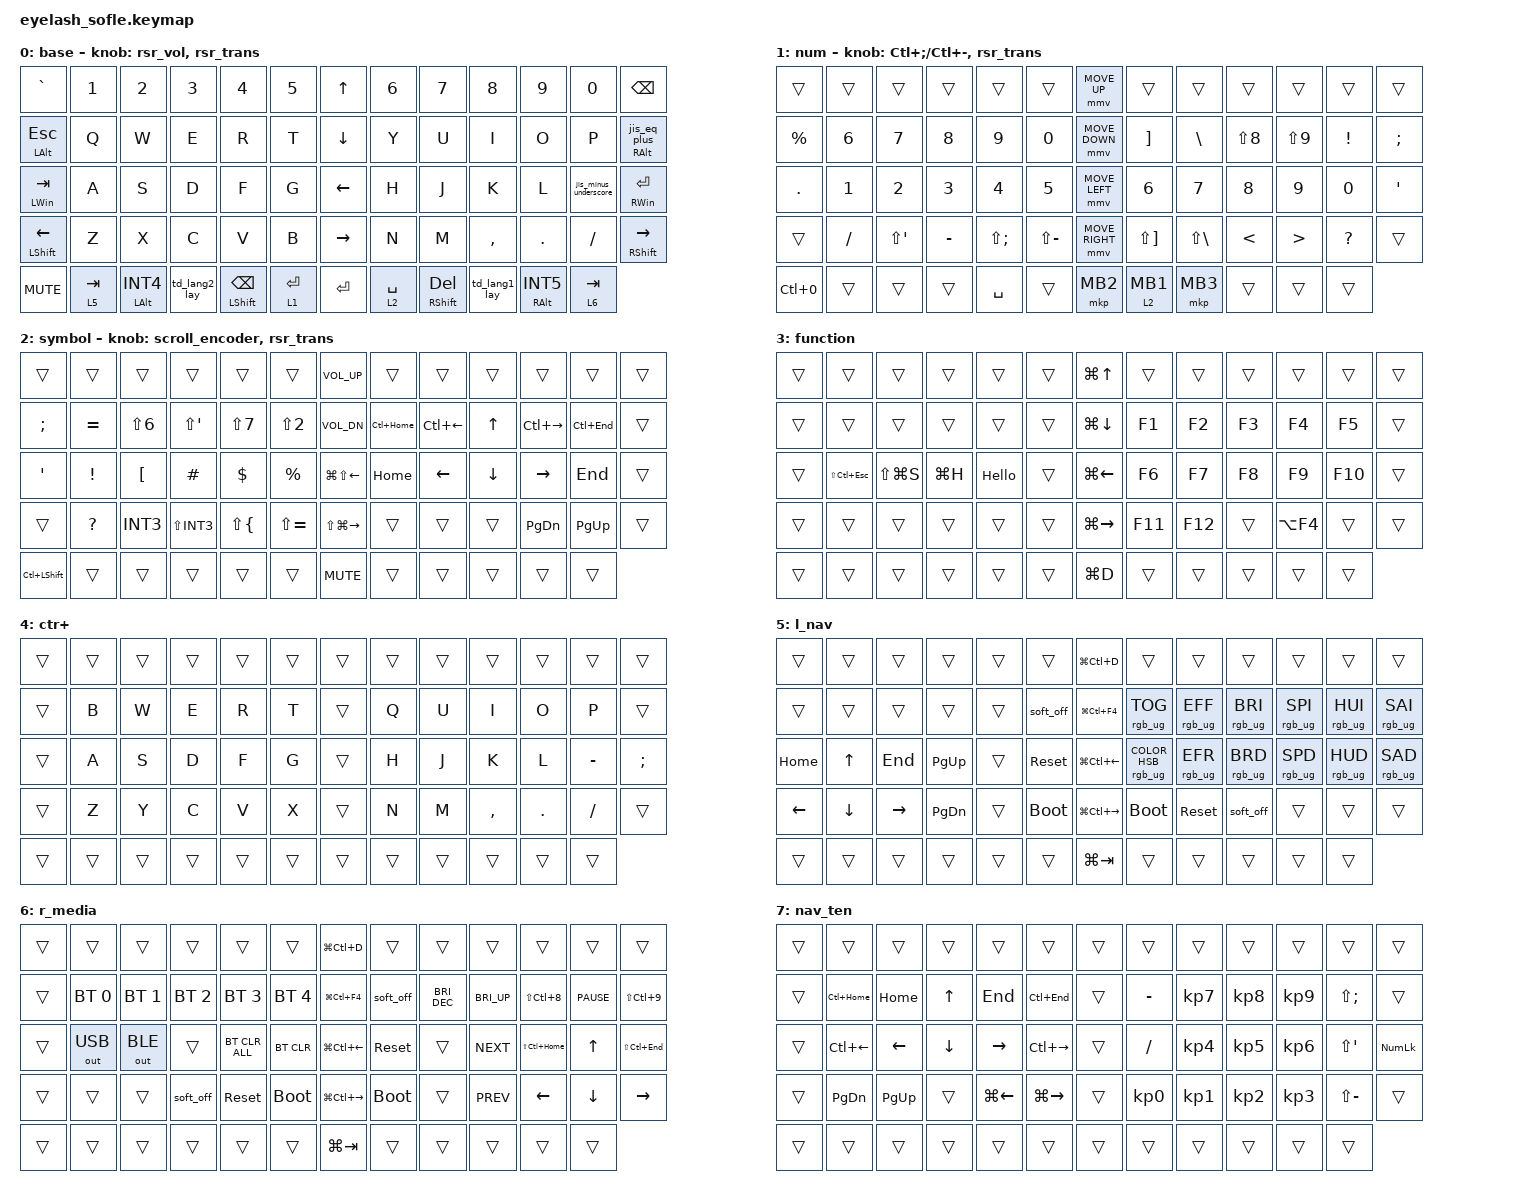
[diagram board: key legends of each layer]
#define ZMK_POINTING_DEFAULT_MOVE_VAL 1200  // 600
#define ZMK_POINTING_DEFAULT_SCRL_VAL 25   // 10

#include <input/processors.dtsi>
#include <zephyr/dt-bindings/input/input-event-codes.h>
#include <behaviors/runtime-sensor-rotate.dtsi>
#include <behaviors.dtsi>
#include <dt-bindings/zmk/bt.h>
#include <dt-bindings/zmk/keys.h>
#include <dt-bindings/zmk/outputs.h>
#include <dt-bindings/zmk/pointing.h>
#include <dt-bindings/zmk/rgb.h>

&mmv_input_listener { input-processors = <&zip_xy_scaler 2 1>; };

&msc_input_listener { input-processors = <&zip_scroll_scaler 2 1>; };

&msc {
    acceleration-exponent = <1>;      // 0
    time-to-max-speed-ms = <100>;       // 300
    delay-ms = <0>;                   // 0
};

&mmv {
    time-to-max-speed-ms = <500>;
    acceleration-exponent = <1>;
    trigger-period-ms = <16>;
};

&soft_off { hold-time-ms = <2000>; };

&lt {
    quick-tap-ms = <170>;
    flavor = "hold-preferred";
    tapping-term-ms = <180>;
};

&mt {
    quick-tap-ms = <170>;
    flavor = "hold-preferred";
    tapping-term-ms = <180>;
};

/ {
    scroll_encoder: scroll_encoder {
        compatible = "zmk,behavior-sensor-rotate";
        #sensor-binding-cells = <0>;
        bindings = <&msc SCRL_DOWN>, <&msc SCRL_UP>;

        tap-ms = <100>;
    };

    behaviors {
        rsr_vol: rsr_vol {
            compatible = "zmk,behavior-runtime-sensor-rotate";
            #sensor-binding-cells = <0>;
            tap-ms = <5>;
            cw-binding = <&kp C_VOL_UP>;
            ccw-binding = <&kp C_VOL_DN>;
        };

        rsr_trans: rsr_trans {
            compatible = "zmk,behavior-runtime-sensor-rotate";
            #sensor-binding-cells = <0>;
            tap-ms = <0>;
        };

        mkp_lay: mkp_lay {
            compatible = "zmk,behavior-hold-tap";
            label = "MKP_LAY";
            bindings = <&mo>, <&mkp>;

            #binding-cells = <2>;
            tapping-term-ms = <180>;
            quick-tap-ms = <170>;
        };

        jis_eq_plus: jis_eq_plus {
            compatible = "zmk,behavior-mod-morph";
            label = "JIS_EQ_PLUS";
            bindings = <&kp LS(MINUS)>, <&kp LS(SEMI)>;

            #binding-cells = <0>;
            mods = <(MOD_LSFT|MOD_RSFT)>;
        };

        jis_eq_plus_hold: jis_eq_plus_hold {
            compatible = "zmk,behavior-hold-tap";
            label = "JIS_EQ_PLUS_HOLD";
            bindings = <&kp>, <&jis_eq_plus>;

            #binding-cells = <2>;
            tapping-term-ms = <180>;
            quick-tap-ms = <170>;
        };

        jis_minus_underscore: jis_minus_underscore {
            compatible = "zmk,behavior-mod-morph";
            label = "JIS_MINUS_UNDERSCORE";
            bindings = <&kp MINUS>, <&kp LS(INT1)>;

            #binding-cells = <0>;
            mods = <(MOD_LSFT|MOD_RSFT)>;
        };

        jis_semi_colon_hold: jis_semi_colon_hold {
            compatible = "zmk,behavior-hold-tap";
            label = "JIS_SEMI_COLON_HOLD";
            bindings = <&kp>, <&jis_semi_colon>;

            #binding-cells = <2>;
            tapping-term-ms = <180>;
            quick-tap-ms = <170>;
        };

        jis_semi_colon: jis_semi_colon {
            compatible = "zmk,behavior-mod-morph";
            label = "JIS_SEMI_COLON";
            bindings = <&kp SEMI>, <&kp APOS>;

            #binding-cells = <0>;
            mods = <(MOD_LSFT|MOD_RSFT)>;
        };

        tap_ctr_lay: tap_ctr_lay {
            compatible = "zmk,behavior-hold-tap";
            label = "TAP_CTR_LAY";
            bindings = <&ctr_lay>, <&kp>;

            #binding-cells = <2>;
            tapping-term-ms = <200>;
        };

        td_lang2_lay: td_lang2_lay {
            compatible = "zmk,behavior-tap-dance";
            label = "TD_LANG2_LAY";
            #binding-cells = <0>;
            bindings = <&tap_ctr_lay 0 LANG2>, <&mo 7>;

            tapping-term-ms = <220>;
        };

        kp_ctr: kp_ctr {
            compatible = "zmk,behavior-hold-tap";
            label = "KP_CTR";
            bindings = <&ctr_lay>, <&kp>;

            #binding-cells = <2>;
            tapping-term-ms = <200>;
        };

        td_lang1_lay: td_lang1_lay {
            compatible = "zmk,behavior-tap-dance";
            label = "TD_LANG1_LAY";
            #binding-cells = <0>;
            bindings = <&tap_ctr_lay 0 LANG1>, <&mo 7>;

            tapping-term-ms = <220>;
        };
    };

    combos {
        compatible = "zmk,combos";

        caps {
            bindings = <&caps_word>;
            key-positions = <61 55>;
        };

        tog_num {
            bindings = <&tog 1>;
            key-positions = <57 30>;
        };

        tog_syb {
            bindings = <&tog 2>;
            key-positions = <59 34>;
        };

        tog_med {
            bindings = <&tog 6>;
            key-positions = <12 63>;
        };

        win_alt {
            bindings = <&kp LA(LEFT_WIN)>;
            key-positions = <42 43>;
        };

        win_shift {
            bindings = <&kp LA(LEFT_SHIFT)>;
            key-positions = <43 44>;
        };

        win_h {
            bindings = <&kp LG(H)>;
            key-positions = <42 44>;
        };

        mb3 {
            bindings = <&mkp MB3>;
            key-positions = <29 30>;
        };

        tog_nav {
            bindings = <&tog 5>;
            key-positions = <0 53>;
        };

        alt_ctr_tab {
            bindings = <&kp LA(LC(TAB))>;
            key-positions = <26 13>;
        };

        win_tab {
            bindings = <&kp LG(TAB)>;
            key-positions = <39 26>;
        };

        NAV_TEN {
            bindings = <&tog 7>;
            key-positions = <61 12>;
        };

        navi_ten {
            bindings = <&tog 7>;
            key-positions = <0 55>;
        };

        spa {
            bindings = <&kp SPACE>;
            key-positions = <57 44>;
        };

        caps_word {
            bindings = <&caps_word>;
            key-positions = <56 60>;
        };

        NAVI {
            bindings = <&mo 5>;
            key-positions = <56 57>;
        };
    };

    macros {
        SHIFT_MCLK: SHIFT_MCLK {
            compatible = "zmk,behavior-macro";
            #binding-cells = <0>;
            bindings =
                <&macro_press>,
                <&kp LEFT_SHIFT &mkp MB3>,
                <&macro_pause_for_release>,
                <&macro_release>,
                <&kp LEFT_SHIFT &mkp MB3>;

            label = "SHIFT_MCLK";
        };

        Hello: Hello {
            compatible = "zmk,behavior-macro";
            #binding-cells = <0>;
            bindings = <&kp LS(H) &kp E &kp L &kp L &kp O &kp EXCL>;
            label = "Hello";
        };

        ctr_lay: ctr_lay {
            compatible = "zmk,behavior-macro";
            #binding-cells = <0>;
            bindings =
                <&macro_press>,
                <&kp LCTRL &mo 4>,
                <&macro_pause_for_release>,
                <&macro_release>,
                <&kp LCTRL &mo 4>;

            label = "CTR_LAY";
        };
    };

    keymap {
        compatible = "zmk,keymap";

        BASE {
            display-name = "base";
            bindings = <
&kp GRAVE                  &kp N1     &kp N2             &kp N3         &kp N4                    &kp N5       &kp UP_ARROW     &kp N6       &kp N7               &kp N8         &kp N9              &kp N0                 &kp BACKSPACE
&mt LEFT_ALT ESC           &kp Q      &kp W              &kp E          &kp R                     &kp T        &kp DOWN_ARROW   &kp Y        &kp U                &kp I          &kp O               &kp P                  &jis_eq_plus_hold RIGHT_ALT 0
&mt LEFT_WIN TAB           &kp A      &kp S              &kp D          &kp F                     &kp G        &kp LEFT_ARROW   &kp H        &kp J                &kp K          &kp L               &jis_minus_underscore  &mt RIGHT_WIN RET
&mt LEFT_SHIFT LEFT_ARROW  &kp Z      &kp X              &kp C          &kp V                     &kp B        &kp RIGHT_ARROW  &kp N        &kp M                &kp COMMA      &kp DOT             &kp FSLH               &mt RIGHT_SHIFT RIGHT_ARROW
&kp C_MUTE                 &lt 5 TAB  &mt LEFT_ALT INT4  &td_lang2_lay  &mt LEFT_SHIFT BACKSPACE  &lt 1 RET    &kp RET          &lt 2 SPACE  &mt RIGHT_SHIFT DEL  &td_lang1_lay  &mt RIGHT_ALT INT5  &lt 6 TAB
            >;

            sensor-bindings = <&rsr_vol>, <&rsr_trans>;
        };

        NUM {
            bindings = <
&trans      &trans     &trans        &trans     &trans        &trans           &mmv MOVE_UP     &trans                 &trans             &trans      &trans      &trans     &trans
&kp PRCNT   &kp N6     &kp N7        &kp N8     &kp N9        &kp N0           &mmv MOVE_DOWN   &kp RIGHT_BRACKET      &kp BACKSLASH      &kp LS(N8)  &kp LS(N9)  &kp EXCL   &kp SEMI
&kp DOT     &kp N1     &kp N2        &kp N3     &kp N4        &kp N5           &mmv MOVE_LEFT   &kp N6                 &kp N7             &kp N8      &kp N9      &kp N0     &kp APOS
&trans      &kp SLASH  &kp LS(APOS)  &kp MINUS  &kp LS(SEMI)  &kp LS(MINUS)    &mmv MOVE_RIGHT  &kp LS(RIGHT_BRACKET)  &kp LS(BACKSLASH)  &kp LT      &kp GT      &kp QMARK  &trans
&kp LC(N0)  &trans     &trans        &trans     &kp SPACE     &trans           &mkp MB2         &mkp_lay 2 MB1         &mkp MB3           &trans      &trans      &trans
            >;

            display-name = "num";
            sensor-bindings = <&inc_dec_kp LC(SEMI) LC(MINUS)>, <&rsr_trans>;
        };

        SYMBOL {
            bindings = <
&trans              &trans        &trans            &trans        &trans              &trans           &kp C_VOL_UP            &trans        &trans        &trans    &trans         &trans       &trans
&kp SEMI            &kp EQUAL     &kp LS(N6)        &kp LS(APOS)  &kp LS(N7)          &kp LS(N2)       &kp C_VOL_DN            &kp LC(HOME)  &kp LC(LEFT)  &kp UP    &kp LC(RIGHT)  &kp LC(END)  &trans
&kp APOS            &kp EXCL      &kp LEFT_BRACKET  &kp HASH      &kp DOLLAR          &kp PERCENT      &kp LG(LS(LEFT_ARROW))  &kp HOME      &kp LEFT      &kp DOWN  &kp RIGHT      &kp END      &trans
&trans              &kp QUESTION  &kp INT3          &kp LS(INT3)  &kp LS(LEFT_BRACE)  &kp LS(EQUAL)    &kp LS(LG(RIGHT))       &trans        &trans        &trans    &kp PAGE_DOWN  &kp PAGE_UP  &trans
&kp LC(LEFT_SHIFT)  &trans        &trans            &trans        &trans              &trans           &kp K_MUTE              &trans        &trans        &trans    &trans         &trans
            >;

            display-name = "symbol";
            sensor-bindings = <&scroll_encoder>, <&rsr_trans>;
        };

        FUNCTION {
            bindings = <
&trans  &trans           &trans         &trans     &trans  &trans    &kp LG(UP)     &trans   &trans   &trans  &trans      &trans   &trans
&trans  &trans           &trans         &trans     &trans  &trans    &kp LG(DOWN)   &kp F1   &kp F2   &kp F3  &kp F4      &kp F5   &trans
&trans  &kp LS(LC(ESC))  &kp LS(LG(S))  &kp LG(H)  &Hello  &trans    &kp LG(LEFT)   &kp F6   &kp F7   &kp F8  &kp F9      &kp F10  &trans
&trans  &trans           &trans         &trans     &trans  &trans    &kp LG(RIGHT)  &kp F11  &kp F12  &trans  &kp LA(F4)  &trans   &trans
&trans  &trans           &trans         &trans     &trans  &trans    &kp LG(D)      &trans   &trans   &trans  &trans      &trans
            >;

            label = "function";
        };

        CTR+ {
            bindings = <
&trans  &trans  &trans  &trans  &trans  &trans    &trans  &trans  &trans  &trans     &trans   &trans     &trans
&trans  &kp B   &kp W   &kp E   &kp R   &kp T     &trans  &kp Q   &kp U   &kp I      &kp O    &kp P      &trans
&trans  &kp A   &kp S   &kp D   &kp F   &kp G     &trans  &kp H   &kp J   &kp K      &kp L    &kp MINUS  &kp SEMI
&trans  &kp Z   &kp Y   &kp C   &kp V   &kp X     &trans  &kp N   &kp M   &kp COMMA  &kp DOT  &kp FSLH   &trans
&trans  &trans  &trans  &trans  &trans  &trans    &trans  &trans  &trans  &trans     &trans   &trans
            >;

            label = "ctr+";
        };

        L_NAV {
            label = "l_nav";
            bindings = <
&trans    &trans    &trans     &trans         &trans  &trans         &kp LG(LC(D))      &trans                             &trans           &trans           &trans           &trans           &trans
&trans    &trans    &trans     &trans         &trans  &soft_off      &kp LG(LC(F4))     &rgb_ug RGB_TOG                    &rgb_ug RGB_EFF  &rgb_ug RGB_BRI  &rgb_ug RGB_SPI  &rgb_ug RGB_HUI  &rgb_ug RGB_SAI
&kp HOME  &kp UP    &kp END    &kp PAGE_UP    &trans  &sys_reset     &kp LG(LC(LEFT))   &rgb_ug RGB_COLOR_HSB(239,100,50)  &rgb_ug RGB_EFR  &rgb_ug RGB_BRD  &rgb_ug RGB_SPD  &rgb_ug RGB_HUD  &rgb_ug RGB_SAD
&kp LEFT  &kp DOWN  &kp RIGHT  &kp PAGE_DOWN  &trans  &bootloader    &kp LG(LC(RIGHT))  &bootloader                        &sys_reset       &soft_off        &trans           &trans           &trans
&trans    &trans    &trans     &trans         &trans  &trans         &kp LG(TAB)        &trans                             &trans           &trans           &trans           &trans
            >;
        };

        R_MEDIA {
            bindings = <
&trans  &trans        &trans        &trans        &trans          &trans          &kp LG(LC(D))      &trans       &trans                &trans        &trans            &trans       &trans
&trans  &bt BT_SEL 0  &bt BT_SEL 1  &bt BT_SEL 2  &bt BT_SEL 3    &bt BT_SEL 4    &kp LG(LC(F4))     &soft_off    &kp C_BRIGHTNESS_DEC  &kp C_BRI_UP  &kp LS(LC(N8))    &kp C_PAUSE  &kp LS(LC(N9))
&trans  &out OUT_USB  &out OUT_BLE  &trans        &bt BT_CLR_ALL  &bt BT_CLR      &kp LG(LC(LEFT))   &sys_reset   &trans                &kp C_NEXT    &kp LS(LC(HOME))  &kp UP       &kp LS(LC(END))
&trans  &trans        &trans        &soft_off     &sys_reset      &bootloader     &kp LG(LC(RIGHT))  &bootloader  &trans                &kp C_PREV    &kp LEFT          &kp DOWN     &kp RIGHT
&trans  &trans        &trans        &trans        &trans          &trans          &kp LG(TAB)        &trans       &trans                &trans        &trans            &trans
            >;

            label = "r_media";
        };

        NAV_TEN {
            bindings = <
&trans  &trans         &trans       &trans    &trans              &trans                 &trans  &trans           &trans           &trans           &trans           &trans         &trans
&trans  &kp LC(HOME)   &kp HOME     &kp UP    &kp END             &kp LC(END)            &trans  &kp MINUS        &kp KP_NUMBER_7  &kp KP_NUMBER_8  &kp KP_NUMBER_9  &kp LS(SEMI)   &trans
&trans  &kp LC(LEFT)   &kp LEFT     &kp DOWN  &kp RIGHT           &kp LC(RIGHT)          &trans  &kp SLASH        &kp KP_NUMBER_4  &kp KP_NUMBER_5  &kp KP_NUMBER_6  &kp LS(APOS)   &kp KP_NLCK
&trans  &kp PAGE_DOWN  &kp PAGE_UP  &trans    &kp LG(LEFT_ARROW)  &kp LG(RIGHT_ARROW)    &trans  &kp KP_NUMBER_0  &kp KP_NUMBER_1  &kp KP_NUMBER_2  &kp KP_NUMBER_3  &kp LS(MINUS)  &trans
&trans  &trans         &trans       &trans    &trans              &trans                 &trans  &trans           &trans           &trans           &trans           &trans
            >;

            label = "nav_ten";
        };
    };

    conditional_layers {
        compatible = "zmk,conditional-layers";

        lay4 {
            if-layers = <1 2>;
            then-layer = <3>;
        };
    };
};
